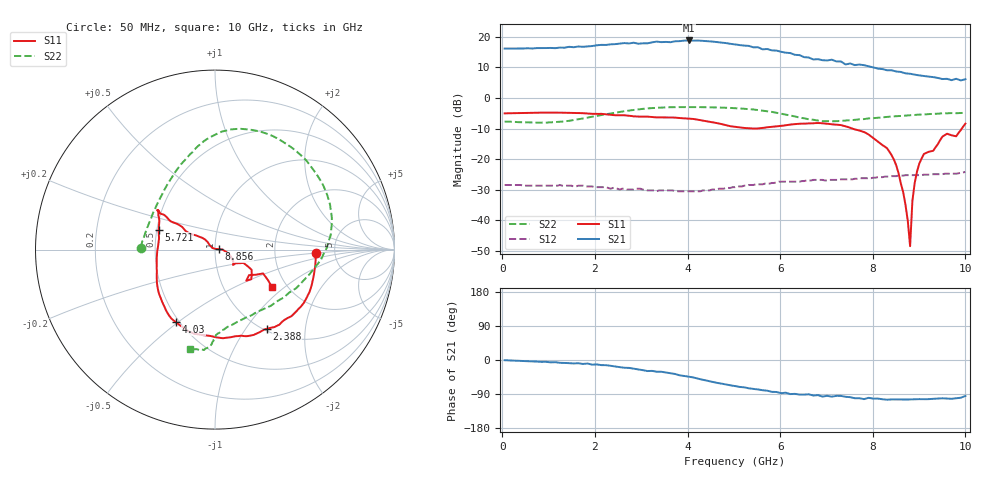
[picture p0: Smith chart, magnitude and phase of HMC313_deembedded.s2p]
!Hittite Microwave Corporation
!12 Elizabeth Drive
!Chelmsford, MA 01824
!Tel: 978-250-3343
!Fax: 978-250-3373
!Device: HMC313, DC-6 GHz HBT Broadband Amplifier Gain Block
!Misc: Vcc=5V, Room
# MHZ S MA R 50
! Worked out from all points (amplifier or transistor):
!   201 points, 50 MHz to 10 GHz, reference 50 ohm
!   highest |S21| = 18.8 dB at 4.03 GHz (marker M1)
!   |S21| within 3 dB of that: start of sweep to 5.768 GHz
!   unconditionally stable (mu >= 1): start of sweep to 1.851 GHz; 3.805 GHz to end of sweep
!   at 1.692 GHz: K = 1.04, MAG = 21.5 dB, |S12| = -28.6 dB
!   at 5.025 GHz: K = 1.22, MAG = 20.5 dB, |S12| = -29.1 dB
!   at 10 GHz: K = 2.30, MAG = 8.7 dB, |S12| = -24.2 dB
!   S11 on the Smith chart (normalised r, x): 50 MHz: 3.55, -0.17; 2.388 GHz: 1.03, -1.26; 4.03 GHz: 0.48, -0.49; 5.721 GHz: 0.51, +0.13; 8.856 GHz: 1.04, +0.00; 10 GHz: 1.68, -0.82
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50  0.561 -1.7  6.408 -0.5  0.038 0.7  0.412 178.4
1741.5  0.565 -40.9  6.849 -10.4  0.037 38.6  0.463 122.3
1841  0.556 -43.2  6.935 -9.3  0.036 39.6  0.478 118.8
2388.25  0.527 -56.9  7.54 -16.2  0.034 54.1  0.567 101.9
2836  0.501 -73.2  7.99 -22.8  0.032 66.1  0.637 90.5
3134.5  0.496 -84.8  7.796 -29.2  0.031 77.0  0.676 82.3
3383.25  0.481 -94.5  8.242 -31.0  0.031 83.4  0.694 74.8
3632  0.483 -103.9  8.139 -34.8  0.031 92.2  0.707 66.4
4030  0.46 -118.3  8.69 -44.0  0.03 106.4  0.711 51.9
4527.5  0.402 -139.4  8.351 -57.6  0.032 125.4  0.703 34.0
5025  0.337 -164.4  7.507 -68.6  0.035 141.4  0.68 18.4
5721.5  0.333 160.7  6.302 -81.0  0.04 158.4  0.607 -2.0
6020  0.35 152.4  5.675 -87.6  0.043 164.5  0.554 -12.5
6716.5  0.386 145.6  4.254 -93.8  0.046 177.6  0.441 -45.4
7114.5  0.372 146.1  4.214 -96.8  0.046 -173.9  0.416 -65.1
7413  0.344 145.6  3.523 -97.1  0.047 -167.2  0.429 -76.7
8358.25  0.133 143.3  2.832 -104.4  0.052 -147.5  0.494 -90.3
8656.75  0.029 140.9  2.593 -104.3  0.054 -142.1  0.513 -91.4
8806  0.003809 77.4  2.485 -104.0  0.055 -139.2  0.523 -91.8
8855.75  0.021 6.4  2.442 -104.0  0.055 -138.5  0.525 -92.0
9104.5  0.122 -33.2  2.284 -103.5  0.056 -134.9  0.538 -92.6
10000  0.381 -33.4  2.025 -94.8  0.062 -118.8  0.573 -104.1
